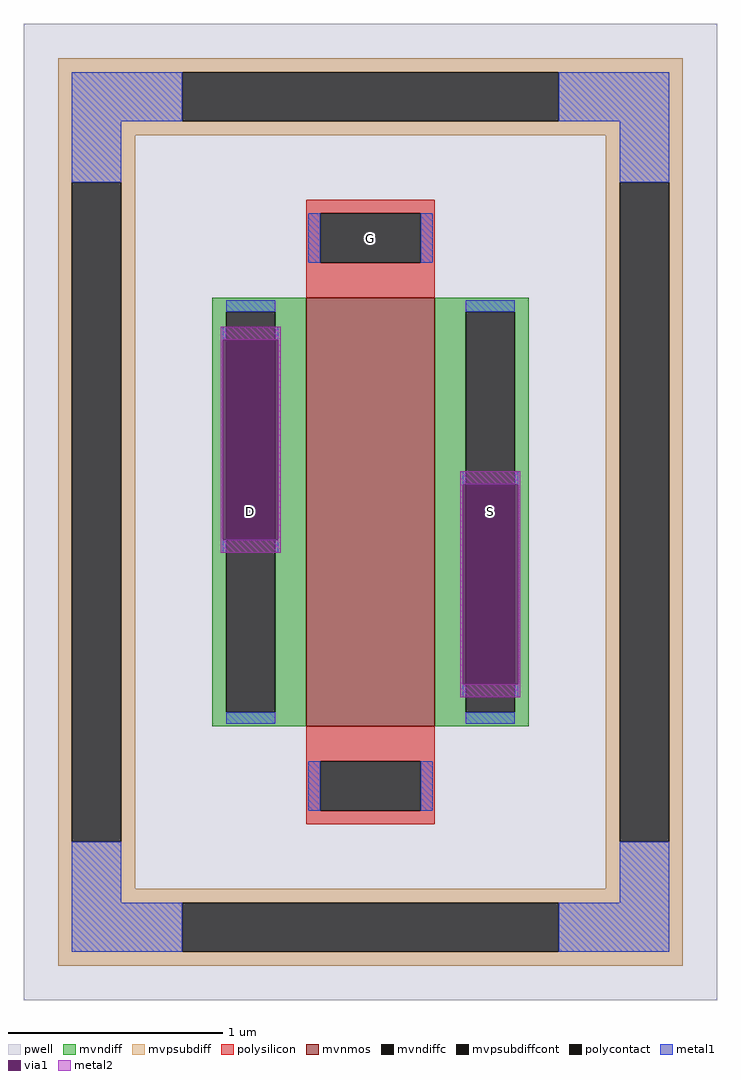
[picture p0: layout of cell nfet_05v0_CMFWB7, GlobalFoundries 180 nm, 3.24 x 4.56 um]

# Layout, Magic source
magic
tech gf180mcuD
magscale 1 10
<< pwell >>
rect -324 -456 324 456
<< mvnmos >>
rect -60 -200 60 200
<< mvndiff >>
rect -148 187 -60 200
rect -148 -187 -135 187
rect -89 -187 -60 187
rect -148 -200 -60 -187
rect 60 187 148 200
rect 60 -187 89 187
rect 135 -187 148 187
rect 60 -200 148 -187
<< mvndiffc >>
rect -135 -187 -89 187
rect 89 -187 135 187
<< mvpsubdiff >>
rect -292 411 292 424
rect -292 365 -176 411
rect 176 365 292 411
rect -292 352 292 365
rect -292 308 -220 352
rect -292 -308 -279 308
rect -233 -308 -220 308
rect 220 308 292 352
rect -292 -352 -220 -308
rect 220 -308 233 308
rect 279 -308 292 308
rect 220 -352 292 -308
rect -292 -365 292 -352
rect -292 -411 -176 -365
rect 176 -411 292 -365
rect -292 -424 292 -411
<< mvpsubdiffcont >>
rect -176 365 176 411
rect -279 -308 -233 308
rect 233 -308 279 308
rect -176 -411 176 -365
<< polysilicon >>
rect -60 279 60 292
rect -60 233 -47 279
rect 47 233 60 279
rect -60 200 60 233
rect -60 -233 60 -200
rect -60 -279 -47 -233
rect 47 -279 60 -233
rect -60 -292 60 -279
<< polycontact >>
rect -47 233 47 279
rect -47 -279 47 -233
<< metal1 >>
rect -279 365 -176 411
rect 176 365 279 411
rect -279 308 -233 365
rect 233 308 279 365
rect -58 233 -47 279
rect 47 233 58 279
rect -135 187 -89 198
rect -138 161 -135 173
rect 89 187 135 198
rect -89 161 -86 173
rect -138 -38 -135 -26
rect -89 -38 -86 -26
rect 86 26 89 38
rect 135 26 138 38
rect 86 -173 89 -161
rect -135 -198 -89 -187
rect 135 -173 138 -161
rect 89 -198 135 -187
rect -58 -279 -47 -233
rect 47 -279 58 -233
rect -279 -365 -233 -308
rect 233 -365 279 -308
rect -279 -411 -176 -365
rect 176 -411 279 -365
<< via1 >>
rect -138 -26 -135 161
rect -135 -26 -89 161
rect -89 -26 -86 161
rect 86 -161 89 26
rect 89 -161 135 26
rect 135 -161 138 26
<< metal2 >>
rect -140 161 -84 173
rect -140 -26 -138 161
rect -86 -26 -84 161
rect -140 -38 -84 -26
rect 84 26 140 38
rect 84 -161 86 26
rect 138 -161 140 26
rect 84 -173 140 -161
<< labels >>
rlabel mvndiffc -112 0 -112 0 0 D
port 1 nsew
rlabel mvndiffc 112 0 112 0 0 S
port 2 nsew
rlabel polycontact 0 256 0 256 0 G
port 3 nsew
<< properties >>
string FIXED_BBOX -256 -388 256 388
string gencell nfet_05v0
string library gf180mcu
string parameters w 2.0 l 0.6 m 1 nf 1 diffcov 100 polycov 100 guard 1 glc 1 grc 1 gtc 1 gbc 1 tbcov 100 rlcov 100 topc 1 botc 1 poverlap 0 doverlap 1 lmin 0.6 wmin 0.3 class mosfet full_metal 1 viasrc +50 viadrn -50 viagate 0 viagb 0 viagr 0 viagl 0 viagt 0 doports 1 compatible {nfet_03v3 nfet_05v0 nfet_06v0 nfet_06v0_nvt}
<< end >>
